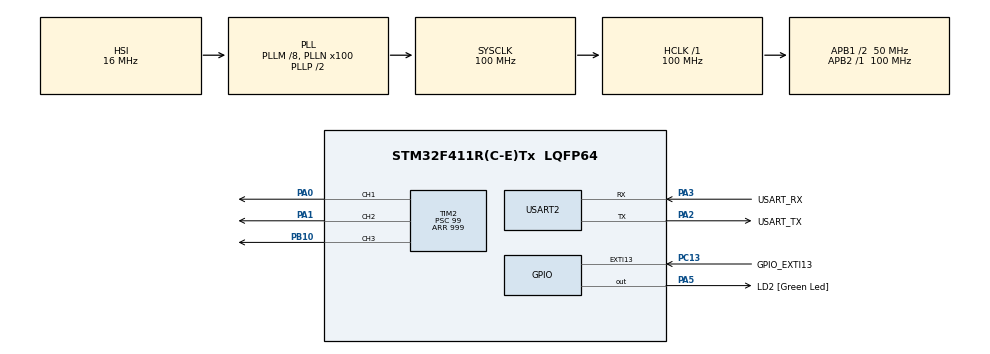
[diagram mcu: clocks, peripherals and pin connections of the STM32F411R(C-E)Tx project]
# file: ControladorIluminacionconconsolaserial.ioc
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Mcu.Family=STM32F4
Mcu.Name=STM32F411R(C-E)Tx
Mcu.Package=LQFP64
NVIC.EXTI15_10_IRQn=true\:0\:0\:false\:false\:true\:true\:true\:true
NVIC.PriorityGroup=NVIC_PRIORITYGROUP_0
NVIC.TIM4_IRQn=true\:0\:0\:false\:false\:true\:true\:true\:true
NVIC.USART2_IRQn=true\:0\:0\:false\:false\:true\:true\:true\:true
PA0-WKUP.Signal=S_TIM2_CH1_ETR
PA1.Signal=S_TIM2_CH2
PA13.GPIO_Label=TMS
PA13.Mode=Serial_Wire
PA13.Signal=SYS_JTMS-SWDIO
PA14.GPIO_Label=TCK
PA14.Mode=Serial_Wire
PA14.Signal=SYS_JTCK-SWCLK
PA2.GPIO_Label=USART_TX
PA2.Mode=Asynchronous
PA2.Signal=USART2_TX
PA3.GPIO_Label=USART_RX
PA3.Mode=Asynchronous
PA3.Signal=USART2_RX
PA5.GPIO_Label=LD2 [Green Led]
PA5.Signal=GPIO_Output
PB10.Signal=S_TIM2_CH3
PB3.GPIO_Label=SWO
PB3.Signal=SYS_JTDO-SWO
PC13-ANTI_TAMP.GPIO_Label=GPIO_EXTI13
PC13-ANTI_TAMP.GPIO_ModeDefaultEXTI=GPIO_MODE_IT_RISING_FALLING
PC13-ANTI_TAMP.GPIO_PuPd=GPIO_PULLUP
PC13-ANTI_TAMP.Signal=GPXTI13
PC14-OSC32_IN.Mode=LSE-External-Oscillator
PC14-OSC32_IN.Signal=RCC_OSC32_IN
PC15-OSC32_OUT.Mode=LSE-External-Oscillator
PC15-OSC32_OUT.Signal=RCC_OSC32_OUT
PH0\ -\ OSC_IN.Mode=HSE-External-Clock-Source
PH0\ -\ OSC_IN.Signal=RCC_OSC_IN
PH1\ -\ OSC_OUT.Mode=HSE-External-Clock-Source
PH1\ -\ OSC_OUT.Signal=RCC_OSC_OUT
ProjectManager.HeapSize=0x200
ProjectManager.StackSize=0x400
ProjectManager.TargetToolchain=STM32CubeIDE
RCC.48MHZClocksFreq_Value=50000000
RCC.AHBFreq_Value=100000000
RCC.APB1CLKDivider=RCC_HCLK_DIV2
RCC.APB1Freq_Value=50000000
RCC.APB1TimFreq_Value=100000000
RCC.APB2Freq_Value=100000000
RCC.APB2TimFreq_Value=100000000
RCC.CortexFreq_Value=100000000
RCC.FLatency-AdvancedSettings=FLASH_LATENCY_3
RCC.HCLKFreq_Value=100000000
RCC.HSE_VALUE=8000000
RCC.HSI_VALUE=16000000
RCC.PLLM=8
RCC.PLLN=100
RCC.SYSCLKFreq_VALUE=100000000
RCC.SYSCLKSource=RCC_SYSCLKSOURCE_PLLCLK
RCC.VCOOutputFreq_Value=200000000
SH.S_TIM2_CH1_ETR.0=TIM2_CH1,PWM Generation1 CH1
SH.S_TIM2_CH2.0=TIM2_CH2,PWM Generation2 CH2
SH.S_TIM2_CH3.0=TIM2_CH3,PWM Generation3 CH3
TIM2.Channel-PWM\ Generation1\ CH1=TIM_CHANNEL_1
TIM2.Channel-PWM\ Generation2\ CH2=TIM_CHANNEL_2
TIM2.Channel-PWM\ Generation3\ CH3=TIM_CHANNEL_3
TIM2.Period=999
TIM2.Prescaler=99
TIM4.Period=999
TIM4.Prescaler=99
USART2.VirtualMode=VM_ASYNC
VP_TIM2_VS_ClockSourceINT.Mode=Internal
VP_TIM4_VS_ClockSourceINT.Mode=Internal
board=NUCLEO-F411RE

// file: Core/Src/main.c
/* USER CODE BEGIN Header */
/**
  ******************************************************************************
  * @file           : main.c
  * @brief          : Main program body
  ******************************************************************************
  */
/* USER CODE END Header */

#include "main.h"

/* USER CODE BEGIN Includes */
#include <stdio.h>
#include <string.h>
/* USER CODE END Includes */

/* USER CODE BEGIN PTD */

typedef enum
{
    MODE_MANUAL25,
    MODE_MANUAL40,
    MODE_MANUAL60,
    MODE_MANUAL80,
    MODE_AUTO,
    MODE_PAUSE
} SystemState_t;

typedef enum
{
    BTN_IDLE,
    BTN_PRESSED
} ButtonState_t;

/* USER CODE END PTD */

TIM_HandleTypeDef htim2;
TIM_HandleTypeDef htim4;

UART_HandleTypeDef huart2;

/* USER CODE BEGIN PV */

/* Variables de la rampa automatica */
static uint8_t autoDuty = 10U;
static int8_t rampDirection = 1;
static uint32_t lastRampTick = 0U;

/* Contador de milisegundos */
volatile uint32_t g_msTicks = 0U;

/*Almacena caracteres desde la terminal en tiempo real*/

static uint8_t rxByte = 0U;

/* Bandera de acciones del pulsador:
   0 = ninguna
   1 = pulsacion corta
   2 = pulsacion larga
*/
volatile uint8_t buttonActionFlag = 0U;
volatile uint8_t g_extiTriggered = 0U;

/* Estados del sistema */
SystemState_t currentSystemState = MODE_MANUAL25;
SystemState_t stateBeforePause = MODE_MANUAL25;

/* Variables del pulsador */
static ButtonState_t btnState = BTN_IDLE;
static GPIO_PinState candidateButtonState = GPIO_PIN_SET;
static GPIO_PinState stableButtonState = GPIO_PIN_SET;

static uint32_t debounceStart = 0U;
static uint32_t btnPressTime = 0U;
static uint8_t longPressReported = 0U;
/* TELEMETRIA  Variable recuerda cuándo se envió el último mensaje.*/
static uint32_t lastTelemetryTick = 0U;
/* USER CODE END PV */

void SystemClock_Config(void);
static void MX_GPIO_Init(void);
static void MX_TIM2_Init(void);
static void MX_TIM4_Init(void);
static void MX_USART2_UART_Init(void);

/* USER CODE BEGIN PFP */

void Set_PWM_Duty(uint32_t channel, uint8_t duty);
void Button_Process(uint32_t currentMillis);
void App_ProcessState(uint32_t now);
void Error_Handler(void);

/* USER CODE END PFP */

/* USER CODE BEGIN 0 */

/* =========================================================
   INTERRUPCION DEL TEMPORIZADOR TIM4
   Debe producir una interrupcion cada 1 ms
   ========================================================= */

void HAL_TIM_PeriodElapsedCallback(TIM_HandleTypeDef *htim)
{
    if (htim->Instance == TIM4)
    {
        g_msTicks++;
    }
}

/* =========================================================
   CONTROL DEL CICLO DE TRABAJO PWM
   ========================================================= */

void Set_PWM_Duty(uint32_t channel, uint8_t duty)
{
    if (duty > 100U)
    {
        return;
    }

    uint32_t period =
        __HAL_TIM_GET_AUTORELOAD(&htim2) + 1U;

    uint32_t pulse =
        (period * (uint32_t)duty) / 100U;

    __HAL_TIM_SET_COMPARE(&htim2, channel, pulse);
}

/* =========================================================
   INTERRUPCION EXTI DEL PULSADOR PC13
   ========================================================= */

void HAL_GPIO_EXTI_Callback(uint16_t GPIO_Pin)
{
    if (GPIO_Pin == GPIO_PIN_13)
    {
        g_extiTriggered = 1U;
    }
}

void HAL_UART_RxCpltCallback(UART_HandleTypeDef *huart)
{
    if (huart->Instance == USART2)
    {
        switch (rxByte)
        {
            case '1':
                currentSystemState = MODE_MANUAL25;
                break;

            case '2':
                currentSystemState = MODE_MANUAL40;
                break;

            case '3':
                currentSystemState = MODE_MANUAL60;
                break;

            case '4':
                currentSystemState = MODE_MANUAL80;
                break;

            case 'A':
            case 'a':
                currentSystemState = MODE_AUTO;
                break;

            case 'P':
            case 'p':
                if (currentSystemState != MODE_PAUSE)
                {
                    stateBeforePause = currentSystemState;
                    currentSystemState = MODE_PAUSE;
                }
                else
                {
                    currentSystemState = stateBeforePause;
                }
                break;

            default:
                /* Ignorar caracteres no reconocidos */
                break;
        }

        /* Preparar la recepcion del siguiente caracter */
        HAL_UART_Receive_IT(&huart2, &rxByte, 1);
    }
}

/* =========================================================
   PROCESAMIENTO DEL PULSADOR
   PC13 usa pull-up:
   PRESIONADO = RESET
   LIBERADO = SET

   Antirrebote: 30 ms
   Pulsacion larga: 1500 ms
   ========================================================= */

void Button_Process(uint32_t currentMillis)
{
    /* Limpiar la bandera de interrupcion */
    if (g_extiTriggered != 0U)
    {
        g_extiTriggered = 0U;
    }

    /* Leer el estado actual del pin */
    GPIO_PinState rawState =
        HAL_GPIO_ReadPin(GPIOC, GPIO_PIN_13);

    /*
       Si cambia el nivel del pin, reiniciar
       el tiempo de antirrebote.
    */
    if (rawState != candidateButtonState)
    {
        candidateButtonState = rawState;
        debounceStart = currentMillis;
    }

    /*
       Aceptar el cambio solo despues de 30 ms
       con el mismo nivel.
    */
    if ((candidateButtonState != stableButtonState) &&
        ((uint32_t)(currentMillis - debounceStart) >= 30U))
    {
        stableButtonState = candidateButtonState;

        /* El pulsador acaba de ser presionado */
        if (stableButtonState == GPIO_PIN_RESET)
        {
            btnState = BTN_PRESSED;
            btnPressTime = currentMillis;
            longPressReported = 0U;
        }
        else
        {
            /* El pulsador acaba de ser liberado */
            if ((btnState == BTN_PRESSED) &&
                (longPressReported == 0U))
            {
                uint32_t pressDuration =
                    currentMillis - btnPressTime;

                if (pressDuration < 1500U)
                {
                    buttonActionFlag = 1U;
                }
            }

            btnState = BTN_IDLE;
        }
    }

    /*
       Detectar la pulsacion larga una sola vez,
       sin esperar a que se suelte el pulsador.
    */
    if ((btnState == BTN_PRESSED) &&
        (longPressReported == 0U))
    {
        if ((uint32_t)(currentMillis - btnPressTime) >= 1500U)
        {
            buttonActionFlag = 2U;
            longPressReported = 1U;
        }
    }
}

/* =========================================================
   CONTROL DE ESTADOS Y RAMPA AUTOMATICA
   ========================================================= */

void App_ProcessState(uint32_t now)
{
    /* -----------------------------------------------------
       PULSACION CORTA: CAMBIAR DE MODO
       ----------------------------------------------------- */

    if (buttonActionFlag == 1U)
    {
        buttonActionFlag = 0U;

        switch (currentSystemState)
        {
            case MODE_MANUAL25:
                currentSystemState = MODE_MANUAL40;
                break;

            case MODE_MANUAL40:
                currentSystemState = MODE_MANUAL60;
                break;

            case MODE_MANUAL60:
                currentSystemState = MODE_MANUAL80;
                break;

            case MODE_MANUAL80:
                currentSystemState = MODE_AUTO;
                autoDuty = 10U;
                rampDirection = 1;
                lastRampTick = now;
                break;

            case MODE_AUTO:
                currentSystemState = MODE_MANUAL25;
                break;

            case MODE_PAUSE:
            default:
                break;
        }
    }

    /* -----------------------------------------------------
       PULSACION LARGA: PAUSA Y REANUDACION
       ----------------------------------------------------- */

    if (buttonActionFlag == 2U)
    {
        buttonActionFlag = 0U;

        if (currentSystemState != MODE_PAUSE)
        {
            stateBeforePause = currentSystemState;
            currentSystemState = MODE_PAUSE;
        }
        else
        {
            currentSystemState = stateBeforePause;

            /* Evitar avanzar la rampa durante la pausa */
            lastRampTick = now;
        }
    }

    /* -----------------------------------------------------
       RAMPA AUTOMATICA ENTRE 10 % Y 90 %
       Un incremento cada 20 ms
       ----------------------------------------------------- */

    if (currentSystemState == MODE_AUTO)
    {
        while ((uint32_t)(now - lastRampTick) >= 20U)
        {
            lastRampTick += 20U;

            if (rampDirection > 0)
            {
                if (autoDuty < 90U)
                {
                    autoDuty++;
                }

                if (autoDuty >= 90U)
                {
                    autoDuty = 90U;
                    rampDirection = -1;
                }
            }
            else
            {
                if (autoDuty > 10U)
                {
                    autoDuty--;
                }

                if (autoDuty <= 10U)
                {
                    autoDuty = 10U;
                    rampDirection = 1;
                }
            }
        }
    }

    /* -----------------------------------------------------
       APLICAR EL PWM SEGUN EL ESTADO
       ----------------------------------------------------- */

    switch (currentSystemState)
    {
        case MODE_MANUAL25:
            Set_PWM_Duty(TIM_CHANNEL_3, 25U);
            break;

        case MODE_MANUAL40:
            Set_PWM_Duty(TIM_CHANNEL_3, 40U);
            break;

        case MODE_MANUAL60:
            Set_PWM_Duty(TIM_CHANNEL_3, 60U);
            break;

        case MODE_MANUAL80:
            Set_PWM_Duty(TIM_CHANNEL_3, 80U);
            break;

        case MODE_AUTO:
            Set_PWM_Duty(TIM_CHANNEL_3, autoDuty);
            break;

        case MODE_PAUSE:
            Set_PWM_Duty(TIM_CHANNEL_3, 0U);
            break;

        default:
            Set_PWM_Duty(TIM_CHANNEL_3, 0U);
            break;
    }
}

/* USER CODE END 0 */

int main(void)
{

    /* MCU Configuration------------------------------------------------------*/

    HAL_Init();

    SystemClock_Config();

    /* Initialize all configured peripherals */
    MX_GPIO_Init();
    MX_TIM2_Init();
    MX_TIM4_Init();
    MX_USART2_UART_Init();

    /*Prepara al stm32 para recibir un caracter por USART2*/

    if (HAL_UART_Receive_IT(&huart2, &rxByte, 1) != HAL_OK)
    {
        Error_Handler();
    }

    /* USER CODE BEGIN 2 */

    /* Iniciar PWM en TIM2, canal 3 */
    if (HAL_TIM_PWM_Start(&htim2, TIM_CHANNEL_3) != HAL_OK)
    {
        Error_Handler();
    }

    /* Iniciar temporizador de 1 ms */
    if (HAL_TIM_Base_Start_IT(&htim4) != HAL_OK)
    {
        Error_Handler();
    }

    /* Estado inicial */
    currentSystemState = MODE_MANUAL25;
    stateBeforePause = MODE_MANUAL25;

    autoDuty = 10U;
    rampDirection = 1;
    lastRampTick = 0U;

    Set_PWM_Duty(TIM_CHANNEL_3, 25U);

    /* USER CODE END 2 */

    /* Infinite loop */
    /* USER CODE BEGIN WHILE */

    uint32_t lastTaskTime = g_msTicks;

    while (1)
    {
        uint32_t currentMillis = g_msTicks;

        /* Procesamiento principal cada 1 ms */
        if ((uint32_t)(currentMillis - lastTaskTime) >= 1U)
        {
            lastTaskTime = currentMillis;

            Button_Process(currentMillis);
            App_ProcessState(currentMillis);
        }

        /* Telemetria UART cada 1000 ms */
        if ((uint32_t)(currentMillis - lastTelemetryTick) >= 1000U)
        {
            lastTelemetryTick = currentMillis;

            char buffer[100];
            const char *stateName;

            switch (currentSystemState)
            {
                case MODE_MANUAL25:
                    stateName = "MANUAL25";
                    break;

                case MODE_MANUAL40:
                    stateName = "MANUAL40";
                    break;

                case MODE_MANUAL60:
                    stateName = "MANUAL60";
                    break;

                case MODE_MANUAL80:
                    stateName = "MANUAL80";
                    break;

                case MODE_AUTO:
                    stateName = "AUTO";
                    break;

                case MODE_PAUSE:
                    stateName = "PAUSA";
                    break;

                default:
                    stateName = "DESCONOCIDO";
                    break;
            }

            int length = sprintf(
                buffer,
                "Estado: %s | autoDuty: %u%%\r\n",
                stateName,
                (unsigned int)autoDuty
            );

            if (length > 0 && length < (int)sizeof(buffer))
            {
                HAL_UART_Transmit(
                    &huart2,
                    (uint8_t *)buffer,
                    (uint16_t)strlen(buffer),
                    10
                );
            }
        }
    }
    /* USER CODE END WHILE */

}

void SystemClock_Config(void)
{
    RCC_OscInitTypeDef RCC_OscInitStruct = {0};
    RCC_ClkInitTypeDef RCC_ClkInitStruct = {0};

    __HAL_RCC_PWR_CLK_ENABLE();

    __HAL_PWR_VOLTAGESCALING_CONFIG(PWR_REGULATOR_VOLTAGE_SCALE1);

    RCC_OscInitStruct.OscillatorType = RCC_OSCILLATORTYPE_HSI;
    RCC_OscInitStruct.HSIState = RCC_HSI_ON;
    RCC_OscInitStruct.HSICalibrationValue =
        RCC_HSICALIBRATION_DEFAULT;

    RCC_OscInitStruct.PLL.PLLState = RCC_PLL_ON;
    RCC_OscInitStruct.PLL.PLLSource = RCC_PLLSOURCE_HSI;
    RCC_OscInitStruct.PLL.PLLM = 8;
    RCC_OscInitStruct.PLL.PLLN = 100;
    RCC_OscInitStruct.PLL.PLLP = RCC_PLLP_DIV2;
    RCC_OscInitStruct.PLL.PLLQ = 4;

    if (HAL_RCC_OscConfig(&RCC_OscInitStruct) != HAL_OK)
    {
        Error_Handler();
    }

    RCC_ClkInitStruct.ClockType =
        RCC_CLOCKTYPE_HCLK |
        RCC_CLOCKTYPE_SYSCLK |
        RCC_CLOCKTYPE_PCLK1 |
        RCC_CLOCKTYPE_PCLK2;

    RCC_ClkInitStruct.SYSCLKSource = RCC_SYSCLKSOURCE_PLLCLK;
    RCC_ClkInitStruct.AHBCLKDivider = RCC_SYSCLK_DIV1;
    RCC_ClkInitStruct.APB1CLKDivider = RCC_HCLK_DIV2;
    RCC_ClkInitStruct.APB2CLKDivider = RCC_HCLK_DIV1;

    if (HAL_RCC_ClockConfig(
            &RCC_ClkInitStruct,
            FLASH_LATENCY_3) != HAL_OK)
    {
        Error_Handler();
    }
}

static void MX_TIM2_Init(void)
{
    TIM_ClockConfigTypeDef sClockSourceConfig = {0};
    TIM_MasterConfigTypeDef sMasterConfig = {0};
    TIM_OC_InitTypeDef sConfigOC = {0};

    htim2.Instance = TIM2;
    htim2.Init.Prescaler = 99U;
    htim2.Init.CounterMode = TIM_COUNTERMODE_UP;
    htim2.Init.Period = 999U;
    htim2.Init.ClockDivision = TIM_CLOCKDIVISION_DIV1;
    htim2.Init.AutoReloadPreload =
        TIM_AUTORELOAD_PRELOAD_DISABLE;

    if (HAL_TIM_Base_Init(&htim2) != HAL_OK)
    {
        Error_Handler();
    }

    sClockSourceConfig.ClockSource = TIM_CLOCKSOURCE_INTERNAL;

    if (HAL_TIM_ConfigClockSource(
            &htim2,
            &sClockSourceConfig) != HAL_OK)
    {
        Error_Handler();
    }

    if (HAL_TIM_PWM_Init(&htim2) != HAL_OK)
    {
        Error_Handler();
    }

    sMasterConfig.MasterOutputTrigger = TIM_TRGO_RESET;
    sMasterConfig.MasterSlaveMode = TIM_MASTERSLAVEMODE_DISABLE;

    if (HAL_TIMEx_MasterConfigSynchronization(
            &htim2,
            &sMasterConfig) != HAL_OK)
    {
        Error_Handler();
    }

    sConfigOC.OCMode = TIM_OCMODE_PWM1;
    sConfigOC.Pulse = 0U;
    sConfigOC.OCPolarity = TIM_OCPOLARITY_HIGH;
    sConfigOC.OCFastMode = TIM_OCFAST_DISABLE;

    if (HAL_TIM_PWM_ConfigChannel(
            &htim2,
            &sConfigOC,
            TIM_CHANNEL_1) != HAL_OK)
    {
        Error_Handler();
    }

    if (HAL_TIM_PWM_ConfigChannel(
            &htim2,
            &sConfigOC,
            TIM_CHANNEL_2) != HAL_OK)
    {
        Error_Handler();
    }

    if (HAL_TIM_PWM_ConfigChannel(
            &htim2,
            &sConfigOC,
            TIM_CHANNEL_3) != HAL_OK)
    {
        Error_Handler();
    }

    HAL_TIM_MspPostInit(&htim2);
}

static void MX_TIM4_Init(void)
{
    TIM_ClockConfigTypeDef sClockSourceConfig = {0};
    TIM_MasterConfigTypeDef sMasterConfig = {0};

    htim4.Instance = TIM4;
    htim4.Init.Prescaler = 99U;
    htim4.Init.CounterMode = TIM_COUNTERMODE_UP;
    htim4.Init.Period = 999U;
    htim4.Init.ClockDivision = TIM_CLOCKDIVISION_DIV1;
    htim4.Init.AutoReloadPreload =
        TIM_AUTORELOAD_PRELOAD_DISABLE;

    if (HAL_TIM_Base_Init(&htim4) != HAL_OK)
    {
        Error_Handler();
    }

    sClockSourceConfig.ClockSource = TIM_CLOCKSOURCE_INTERNAL;

    if (HAL_TIM_ConfigClockSource(
            &htim4,
            &sClockSourceConfig) != HAL_OK)
    {
        Error_Handler();
    }

    sMasterConfig.MasterOutputTrigger = TIM_TRGO_RESET;
    sMasterConfig.MasterSlaveMode = TIM_MASTERSLAVEMODE_DISABLE;

    if (HAL_TIMEx_MasterConfigSynchronization(
            &htim4,
            &sMasterConfig) != HAL_OK)
    {
        Error_Handler();
    }
}

static void MX_USART2_UART_Init(void)
{
    huart2.Instance = USART2;
    huart2.Init.BaudRate = 115200U;
    huart2.Init.WordLength = UART_WORDLENGTH_8B;
    huart2.Init.StopBits = UART_STOPBITS_1;
    huart2.Init.Parity = UART_PARITY_NONE;
    huart2.Init.Mode = UART_MODE_TX_RX;
    huart2.Init.HwFlowCtl = UART_HWCONTROL_NONE;
    huart2.Init.OverSampling = UART_OVERSAMPLING_16;

    if (HAL_UART_Init(&huart2) != HAL_OK)
    {
        Error_Handler();
    }
}

static void MX_GPIO_Init(void)
{
    GPIO_InitTypeDef GPIO_InitStruct = {0};

    /* GPIO Ports Clock Enable */
    __HAL_RCC_GPIOC_CLK_ENABLE();
    __HAL_RCC_GPIOH_CLK_ENABLE();
    __HAL_RCC_GPIOA_CLK_ENABLE();
    __HAL_RCC_GPIOB_CLK_ENABLE();

    /* LED integrado LD2 */
    HAL_GPIO_WritePin(LD2_GPIO_Port, LD2_Pin, GPIO_PIN_RESET);

    GPIO_InitStruct.Pin = GPIO_EXTI13_Pin;
    GPIO_InitStruct.Mode = GPIO_MODE_IT_RISING_FALLING;
    GPIO_InitStruct.Pull = GPIO_PULLUP;

    HAL_GPIO_Init(GPIO_EXTI13_GPIO_Port, &GPIO_InitStruct);

    /* Configurar LED integrado */
    GPIO_InitStruct.Pin = LD2_Pin;
    GPIO_InitStruct.Mode = GPIO_MODE_OUTPUT_PP;
    GPIO_InitStruct.Pull = GPIO_NOPULL;
    GPIO_InitStruct.Speed = GPIO_SPEED_FREQ_LOW;

    HAL_GPIO_Init(LD2_GPIO_Port, &GPIO_InitStruct);

    /* Interrupcion EXTI para PC13 */
    HAL_NVIC_SetPriority(EXTI15_10_IRQn, 0, 0);
    HAL_NVIC_EnableIRQ(EXTI15_10_IRQn);
}

void Error_Handler(void)
{
    __disable_irq();

    while (1)
    {
    }
}

#ifdef USE_FULL_ASSERT
void assert_failed(uint8_t *file, uint32_t line)
{
    /* USER CODE BEGIN 6 */
    /* El usuario puede agregar aqui el reporte del error */
    /* USER CODE END 6 */
}
#endif /* USE_FULL_ASSERT */
